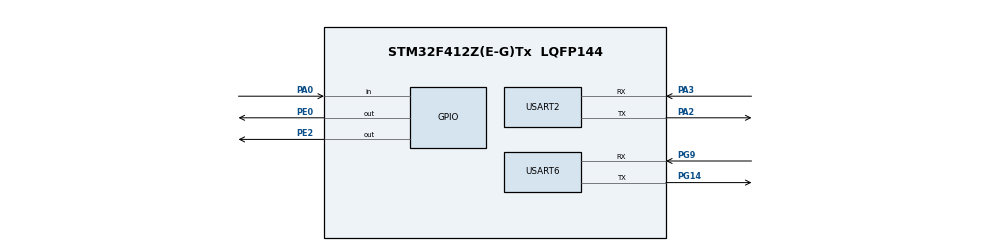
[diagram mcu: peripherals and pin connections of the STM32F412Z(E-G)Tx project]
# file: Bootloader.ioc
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Mcu.Family=STM32F4
Mcu.Name=STM32F412Z(E-G)Tx
Mcu.Package=LQFP144
NVIC.PriorityGroup=NVIC_PRIORITYGROUP_4
PA0.Signal=GPIO_Input
PA2.Mode=Asynchronous
PA2.Signal=USART2_TX
PA3.Mode=Asynchronous
PA3.Signal=USART2_RX
PE0.Signal=GPIO_Output
PE2.Signal=GPIO_Output
PG14.Mode=Asynchronous
PG14.Signal=USART6_TX
PG9.Mode=Asynchronous
PG9.Signal=USART6_RX
ProjectManager.HeapSize=0x200
ProjectManager.StackSize=0x400
ProjectManager.TargetToolchain=STM32CubeIDE
RCC.CortexFreq_Value=16000000
RCC.USBFreq_Value=96000000
RCC.VCOOutputFreq_Value=192000000
USART2.VirtualMode=VM_ASYNC
USART6.VirtualMode=VM_ASYNC
board=custom

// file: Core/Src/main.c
/* USER CODE BEGIN Header */
/**
  ******************************************************************************
  * @file           : main.c
  * @brief          : Main program body
  ******************************************************************************
  * @attention
  *
  * Copyright (c) 2023 STMicroelectronics.
  * All rights reserved.
  *
  * This software is licensed under terms that can be found in the LICENSE file
  * in the root directory of this software component.
  * If no LICENSE file comes with this software, it is provided AS-IS.
  *
  */
/* USER CODE END Header */
#include "main.h"

/* USER CODE BEGIN Includes */
#include <stdio.h>
#include "etx_ota_update.h"
/* USER CODE END Includes */

/* USER CODE BEGIN PD */
#define MAJOR	3	/* Major version number	*/
#define MINOR	2	/* Minor version number	*/
/* USER CODE END PD */

UART_HandleTypeDef huart2;
UART_HandleTypeDef huart6;

/* USER CODE BEGIN PV */
const uint8_t BL_Version [2] = { MAJOR, MINOR };
/* USER CODE END PV */

void SystemClock_Config(void);
static void MX_GPIO_Init(void);
static void MX_USART6_UART_Init(void);
static void MX_USART2_UART_Init(void);
/* USER CODE BEGIN PFP */
static void goto_application(void);

void printd(char *pMsg)
{
	//strcat(pMsg, "\r\n");
	HAL_UART_Transmit(&huart2, pMsg, strlen(pMsg), 0xFFFF);
}

void printdln(char *pMsg)
{
	strcat(pMsg, "\r\n");
	HAL_UART_Transmit(&huart2, pMsg, strlen(pMsg), 0xFFFF);
}

static char txt[64];

/* USER CODE END PFP */

int main(void)
{
  /* USER CODE BEGIN 1 */
  //char txt[64];
  /* USER CODE END 1 */

  /* MCU Configuration--------------------------------------------------------*/

  /* Reset of all peripherals, Initializes the Flash interface and the Systick. */
  HAL_Init();

  /* Configure the system clock */
  SystemClock_Config();

  /* Initialize all configured peripherals */
  MX_GPIO_Init();
  MX_USART6_UART_Init();
  MX_USART2_UART_Init();
  /* USER CODE BEGIN 2 */
  sprintf(txt, "Starting Bootloader (v%d.%d)", BL_Version[0], BL_Version[1]);
  printdln(txt);

  HAL_GPIO_WritePin(GPIOE, GPIO_PIN_0, GPIO_PIN_RESET);		/* Green led is ON	*/
  HAL_GPIO_WritePin(GPIOE, GPIO_PIN_2, GPIO_PIN_SET);		/* Red led is OFF	*/
  //HAL_Delay(2000);			/* Delay 2 seconds	*/

  /* Check the GPIO during 3 seconds */
  GPIO_PinState OTA_Pin_state;
  uint32_t end_tick = HAL_GetTick() + 3000;   // from now to 3 Seconds

  sprintf(txt, "Press the Joystick central button to trigger OTA update...");
  printdln(txt);

  do
  {
    OTA_Pin_state = HAL_GPIO_ReadPin( GPIOA, GPIO_PIN_0 );
    uint32_t current_tick = HAL_GetTick();

    /* Check the button is pressed or not during 3 seconds. After go to application	*/
    if( ( OTA_Pin_state != GPIO_PIN_RESET ) || ( current_tick > end_tick ) )
    {
      /* Either timeout or Button is pressed */
      break;
    }
  } while (1);

  /*Start the Firmware or Application update */
  if (OTA_Pin_state == GPIO_PIN_SET)
  {
    sprintf(txt, "Starting Firmware Download !!!");
    printdln(txt);

    HAL_GPIO_WritePin(GPIOE, GPIO_PIN_0, GPIO_PIN_SET);
    HAL_GPIO_WritePin(GPIOE, GPIO_PIN_2, GPIO_PIN_RESET);

    /* OTA Request. Receive the data from the UART4 and flash */
    if( etx_ota_download_and_flash() != ETX_OTA_EX_OK )
    {
      /* Error. Don't process. */
      sprintf(txt, "OTA Update : ERROR !!! HALT !!!");
      printdln(txt);

      while( 1 );
   }
   else
   {
      /* Reset to load the new application */
      sprintf(txt, "Firmware update is done !!! Rebooting...");
      printdln(txt);
      HAL_NVIC_SystemReset();
    }
  }

  sprintf(txt, "Starting application...");
  printdln(txt);

  goto_application();
  /* USER CODE END 2 */

  /* Infinite loop */
  while (1)
  {

  }
}

void SystemClock_Config(void)
{
  RCC_OscInitTypeDef RCC_OscInitStruct = {0};
  RCC_ClkInitTypeDef RCC_ClkInitStruct = {0};

  /** Configure the main internal regulator output voltage
  */
  __HAL_RCC_PWR_CLK_ENABLE();
  __HAL_PWR_VOLTAGESCALING_CONFIG(PWR_REGULATOR_VOLTAGE_SCALE1);

  /** Initializes the RCC Oscillators according to the specified parameters
  * in the RCC_OscInitTypeDef structure.
  */
  RCC_OscInitStruct.OscillatorType = RCC_OSCILLATORTYPE_HSI;
  RCC_OscInitStruct.HSIState = RCC_HSI_ON;
  RCC_OscInitStruct.HSICalibrationValue = RCC_HSICALIBRATION_DEFAULT;
  RCC_OscInitStruct.PLL.PLLState = RCC_PLL_NONE;
  if (HAL_RCC_OscConfig(&RCC_OscInitStruct) != HAL_OK)
  {
    Error_Handler();
  }

  /** Initializes the CPU, AHB and APB buses clocks
  */
  RCC_ClkInitStruct.ClockType = RCC_CLOCKTYPE_HCLK|RCC_CLOCKTYPE_SYSCLK
                              |RCC_CLOCKTYPE_PCLK1|RCC_CLOCKTYPE_PCLK2;
  RCC_ClkInitStruct.SYSCLKSource = RCC_SYSCLKSOURCE_HSI;
  RCC_ClkInitStruct.AHBCLKDivider = RCC_SYSCLK_DIV1;
  RCC_ClkInitStruct.APB1CLKDivider = RCC_HCLK_DIV1;
  RCC_ClkInitStruct.APB2CLKDivider = RCC_HCLK_DIV1;

  if (HAL_RCC_ClockConfig(&RCC_ClkInitStruct, FLASH_LATENCY_0) != HAL_OK)
  {
    Error_Handler();
  }
}

static void MX_USART2_UART_Init(void)
{

  huart2.Instance = USART2;
  huart2.Init.BaudRate = 115200;
  huart2.Init.WordLength = UART_WORDLENGTH_8B;
  huart2.Init.StopBits = UART_STOPBITS_1;
  huart2.Init.Parity = UART_PARITY_NONE;
  huart2.Init.Mode = UART_MODE_TX_RX;
  huart2.Init.HwFlowCtl = UART_HWCONTROL_NONE;
  huart2.Init.OverSampling = UART_OVERSAMPLING_16;
  if (HAL_UART_Init(&huart2) != HAL_OK)
  {
    Error_Handler();
  }

}

static void MX_USART6_UART_Init(void)
{

  huart6.Instance = USART6;
  huart6.Init.BaudRate = 115200;
  huart6.Init.WordLength = UART_WORDLENGTH_8B;
  huart6.Init.StopBits = UART_STOPBITS_1;
  huart6.Init.Parity = UART_PARITY_NONE;
  huart6.Init.Mode = UART_MODE_TX_RX;
  huart6.Init.HwFlowCtl = UART_HWCONTROL_NONE;
  huart6.Init.OverSampling = UART_OVERSAMPLING_16;
  if (HAL_UART_Init(&huart6) != HAL_OK)
  {
    Error_Handler();
  }

}

static void MX_GPIO_Init(void)
{
  GPIO_InitTypeDef GPIO_InitStruct = {0};

  /* GPIO Ports Clock Enable */
  __HAL_RCC_GPIOE_CLK_ENABLE();
  __HAL_RCC_GPIOA_CLK_ENABLE();
  __HAL_RCC_GPIOG_CLK_ENABLE();

  /*Configure GPIO pin Output Level */
  HAL_GPIO_WritePin(GPIOE, GPIO_PIN_2|GPIO_PIN_0, GPIO_PIN_RESET);

  /*Configure GPIO pins : PE2 PE0 */
  GPIO_InitStruct.Pin = GPIO_PIN_2|GPIO_PIN_0;
  GPIO_InitStruct.Mode = GPIO_MODE_OUTPUT_PP;
  GPIO_InitStruct.Pull = GPIO_NOPULL;
  GPIO_InitStruct.Speed = GPIO_SPEED_FREQ_LOW;
  HAL_GPIO_Init(GPIOE, &GPIO_InitStruct);

  /*Configure GPIO pin : PA0 */
  GPIO_InitStruct.Pin = GPIO_PIN_0;
  GPIO_InitStruct.Mode = GPIO_MODE_INPUT;
  GPIO_InitStruct.Pull = GPIO_NOPULL;
  HAL_GPIO_Init(GPIOA, &GPIO_InitStruct);

}

/* USER CODE BEGIN 4 */
/**
 * @brief Print the characters to UART (printf)
 * @retval int
 */

////#ifdef __GNUC__
/////* With GCC, small printf (option LD linker->Librarie->Small printf
////   set to 'Yes') calls __io_putchar() */
////int __io_putchar(int ch)
////#else
////int fputc(int ch, FILE *f)
////#endif
////{
////	/* Place the implementation of putc here */
////	/* e.g. write a character to the UART6 and loop until the end of transmission */
////	HAL_UART_Transmit(&huart6, (uint8_t *) &ch,1, HAL_MAX_DELAY);
////
////	return ch;
////}

static void goto_application(void)
{
	printf("Gonna jump to application\n ");

	void (*app_reset_handler)(void) = (void*)(*((volatile uint32_t*) (0x08040000 + 4U)));

	HAL_GPIO_WritePin(GPIOE, GPIO_PIN_0, GPIO_PIN_SET);			/* Green led is OFF	*/

	app_reset_handler();										/* Call the reset handler application	*/
}
/* USER CODE END 4 */

void Error_Handler(void)
{
  __disable_irq();
  while (1)
  {
  }
}
